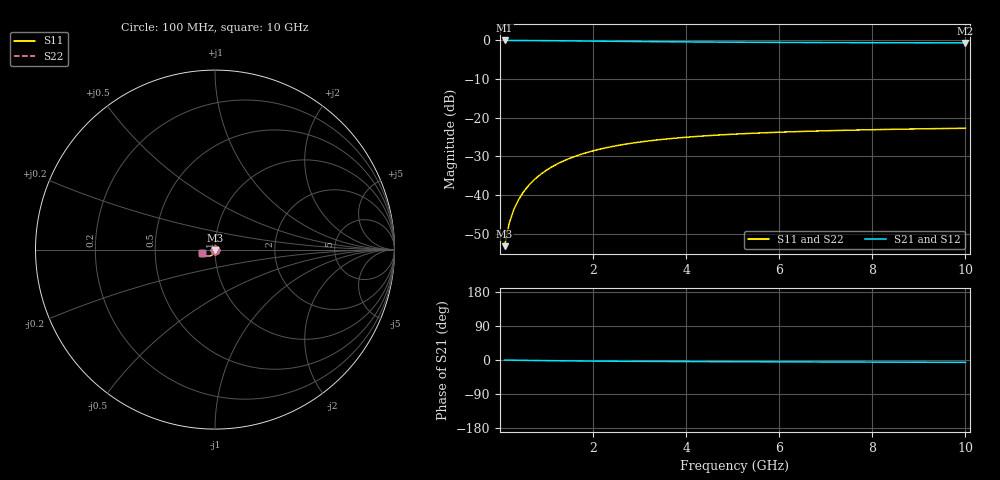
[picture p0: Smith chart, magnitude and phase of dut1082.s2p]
! Touchstone file exported from HFSS 2024.1.0
!  File:  C:/UserFiles/LocalFiles/RDL_TSV_Batchsim/temp_TSV1_1082_1780065677.aedt
!  Generated:  10:45:12 PM May 29, 2026
!  Design:  TSV1
!  Project:  temp_TSV1_1082_1780065677
!  Setup:  Setup1
!  Solution:  Sweep
! Variables:
!  dtsv = 14.35um
!  hbump = 3um
!  htsv = 95.64um
!  lrdl = 252.1521522um
!  p = 40
!  p1 = 51.06um
!  t = 500um
!  trdl = 3um
!  wrdl = 24.89489489um
# GHz S MA R 50.000000
! Terminal data exported
! Port[1] = TSV22_T1
! Port[2] = TSV22_T2
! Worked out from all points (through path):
!   100 points, 100 MHz to 10 GHz, reference 50 ohm
!   highest |S21| = 0.00 dB at 100 MHz (marker M1); lowest = -0.6 dB at 10 GHz (marker M2)
!   lowest |S11| = -53.2 dB at 100 MHz (marker M3), VSWR 1.00, Z = 50 - j0.218 ohm
!   |S11| at or under -10 dB: start of sweep to end of sweep
!   |S22| runs from -53.2 to -22.7 dB; largest |S21 - S12| = 3e-15
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0.1  0.002183 -89.4  0.9998 -0.2  0.9998 -0.2  0.002183 -89.4
! Gamma 0 0 0 0
! Port Impedance 50 0 50 0
0.2  0.004365 -92.2  0.9996 -0.4  0.9996 -0.4  0.004365 -92.2
0.3  0.006543 -94.3  0.9993 -0.5  0.9993 -0.5  0.006543 -94.3
0.4  0.008707 -96.2  0.9988 -0.7  0.9988 -0.7  0.008707 -96.2
0.5  0.01085 -98.1  0.9982 -0.9  0.9982 -0.9  0.01085 -98.1
0.6  0.01296 -99.9  0.9975 -1.0  0.9975 -1.0  0.01296 -99.9
0.7  0.01503 -101.7  0.9967 -1.2  0.9967 -1.2  0.01503 -101.7
0.8  0.01707 -103.4  0.9958 -1.3  0.9958 -1.3  0.01707 -103.4
0.9  0.01905 -105.1  0.9948 -1.5  0.9948 -1.5  0.01905 -105.1
1.1  0.02288 -108.4  0.9926 -1.8  0.9926 -1.8  0.02288 -108.4
1.4  0.02821 -113.0  0.9889 -2.2  0.9889 -2.2  0.02821 -113.0
1.6  0.03148 -115.9  0.9863 -2.4  0.9863 -2.4  0.03148 -115.9
1.8  0.03451 -118.7  0.9836 -2.6  0.9836 -2.6  0.03451 -118.7
2.1  0.03866 -122.5  0.9795 -2.9  0.9795 -2.9  0.03866 -122.5
2.5  0.04346 -127.0  0.9743 -3.2  0.9743 -3.2  0.04346 -127.0
2.9  0.04755 -131.1  0.9693 -3.5  0.9693 -3.5  0.04755 -131.1
3.4  0.05182 -135.4  0.9637 -3.8  0.9637 -3.8  0.05182 -135.4
4.2  0.05717 -141.2  0.9562 -4.2  0.9562 -4.2  0.05717 -141.2
5.1  0.06165 -146.5  0.9494 -4.5  0.9494 -4.5  0.06165 -146.5
6.7  0.0671 -153.5  0.9407 -5.1  0.9407 -5.1  0.0671 -153.5
8.4  0.0708 -159.1  0.9344 -5.6  0.9344 -5.6  0.0708 -159.1
10  0.07316 -163.2  0.9303 -6.2  0.9303 -6.2  0.07316 -163.2
